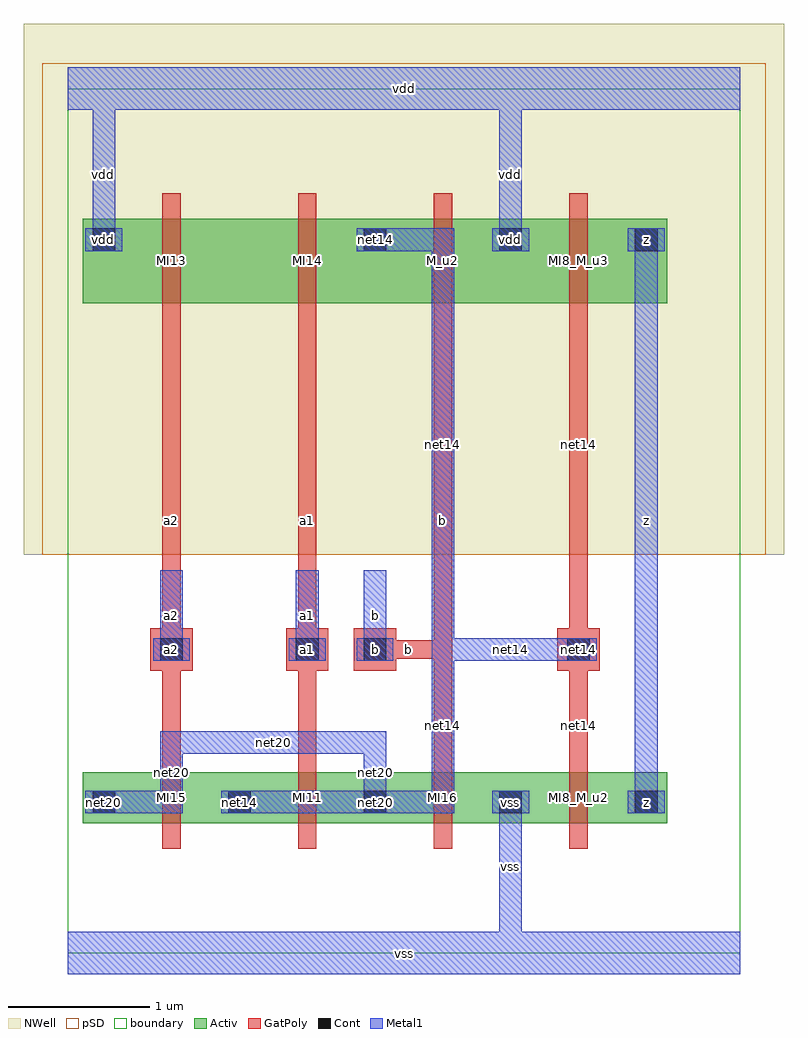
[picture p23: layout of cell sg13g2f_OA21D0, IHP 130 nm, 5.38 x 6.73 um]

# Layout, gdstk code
import gdstk
lib = gdstk.Library(unit=1e-6, precision=1e-09)
def R(c, l, rs):  # rectangles x0, y0, x1, y1
    for r in rs: c.add(gdstk.rectangle(r[:2], r[2:], *l))
def A(c, l, x, y, w, h, nx, ny, dx, dy):  # array of equal rectangles
    R(c, l, [(x+i*dx, y+j*dy, x+i*dx+w, y+j*dy+h) for i in range(nx) for j in range(ny)])
Activ = (1, 0)
GatPoly = (5, 0)
Cont = (6, 0)
Metal1 = (8, 0)
pSD = (14, 0)
NWell = (31, 0)
TEXT = (63, 0)
boundary = (189, 4)

sg13g2f_oa21d0 = lib.new_cell('sg13g2f_OA21D0')
A(sg13g2f_oa21d0, Activ, 0.105, 0.92, 1.26, 0.36, 4, 1, 0.96, 0)
A(sg13g2f_oa21d0, Activ, 0.105, 0.92, 0.3, 0.3, 5, 1, 0.96, 0)
A(sg13g2f_oa21d0, Activ, 0.105, 4.6, 1.26, 0.6, 4, 1, 0.96, 0)
A(sg13g2f_oa21d0, Activ, 2.025, 4.9, 0.3, 0.3, 3, 1, 0.96, 0)
R(sg13g2f_oa21d0, Activ, [(0.105,4.9,0.405,5.2)])
A(sg13g2f_oa21d0, GatPoly, 0.67, 0.74, 0.13, 0.72, 4, 1, 0.96, 0)
A(sg13g2f_oa21d0, GatPoly, 0.67, 1.005, 0.13, 4.11, 3, 1, 0.96, 0)
A(sg13g2f_oa21d0, GatPoly, 0.67, 4.42, 0.13, 0.96, 4, 1, 0.96, 0)
R(sg13g2f_oa21d0, GatPoly, [(3.55,1.005,3.68,2.215), (0.585,2,0.885,2.3), (1.545,2,1.845,2.3), (2.025,2,2.325,2.3), (3.465,2,3.765,2.3), (2.11,2.085,2.72,2.215), (3.55,2.085,3.68,5.115)])
A(sg13g2f_oa21d0, Cont, 0.175, 0.99, 0.16, 0.16, 5, 1, 0.96, 0)
A(sg13g2f_oa21d0, Cont, 2.095, 4.97, 0.16, 0.16, 3, 1, 0.96, 0)
R(sg13g2f_oa21d0, Cont, [(0.655,2.07,0.815,2.23), (1.615,2.07,1.775,2.23), (2.095,2.07,2.255,2.23), (3.535,2.07,3.695,2.23), (0.175,4.97,0.335,5.13)])
A(sg13g2f_oa21d0, Metal1, 0.125, 0.99, 0.26, 0.16, 5, 1, 0.96, 0)
A(sg13g2f_oa21d0, Metal1, 2.045, 4.97, 0.26, 0.16, 3, 1, 0.96, 0)
R(sg13g2f_oa21d0, Metal1, [(0,-0.15,4.76,0.15), (3.055,0.07,3.215,1.15), (0.175,0.99,0.815,1.15), (0.655,0.99,0.815,1.57), (1.135,0.99,2.735,1.15), (2.095,0.99,2.255,1.57), (2.575,0.99,2.735,2.23), (4.015,0.99,4.175,5.13), (0.655,1.41,2.255,1.57), (0.605,2.07,0.865,2.23), (0.655,2.07,0.815,2.71), (1.565,2.07,1.825,2.23), (1.615,2.07,1.775,2.71), (2.045,2.07,2.305,2.23), (2.095,2.07,2.255,2.71), (2.575,2.07,3.695,2.23), (2.575,2.07,2.735,5.13), (3.485,2.07,3.745,2.23), (0.125,4.97,0.385,5.13), (0.175,4.97,0.335,6.05), (2.095,4.97,2.735,5.13), (3.055,4.97,3.215,6.05), (0,5.97,4.76,6.27)])
R(sg13g2f_oa21d0, pSD, [(-0.18,2.82,4.94,5.94), (-0.18,5.94,4.94,6.3)])
R(sg13g2f_oa21d0, NWell, [(-0.31,2.82,5.07,6.58)])
R(sg13g2f_oa21d0, boundary, [(0,0,4.76,6.12)])
sg13g2f_oa21d0.add(gdstk.FlexPath([(0.105,0.41),(4.245,0.41)], 0, ends="flush", simple_path=True, layer=63, datatype=0))  # TEXT
sg13g2f_oa21d0.add(gdstk.FlexPath([(0.105,1.07),(4.245,1.07)], 0, ends="flush", simple_path=True, layer=63, datatype=0))  # TEXT
sg13g2f_oa21d0.add(gdstk.FlexPath([(0.105,1.49),(4.245,1.49)], 0, ends="flush", simple_path=True, layer=63, datatype=0))  # TEXT
sg13g2f_oa21d0.add(gdstk.FlexPath([(0.105,2.15),(4.245,2.15)], 0, ends="flush", simple_path=True, layer=63, datatype=0))  # TEXT
sg13g2f_oa21d0.add(gdstk.FlexPath([(0.105,2.63),(4.245,2.63)], 0, ends="flush", simple_path=True, layer=63, datatype=0))  # TEXT
sg13g2f_oa21d0.add(gdstk.FlexPath([(0.105,3.11),(4.245,3.11)], 0, ends="flush", simple_path=True, layer=63, datatype=0))  # TEXT
sg13g2f_oa21d0.add(gdstk.FlexPath([(0.105,4.15),(4.245,4.15)], 0, ends="flush", simple_path=True, layer=63, datatype=0))  # TEXT
sg13g2f_oa21d0.add(gdstk.FlexPath([(0.105,4.71),(4.245,4.71)], 0, ends="flush", simple_path=True, layer=63, datatype=0))  # TEXT
sg13g2f_oa21d0.add(gdstk.FlexPath([(0.105,5.05),(4.245,5.05)], 0, ends="flush", simple_path=True, layer=63, datatype=0))  # TEXT
sg13g2f_oa21d0.add(gdstk.FlexPath([(0.105,5.71),(4.245,5.71)], 0, ends="flush", simple_path=True, layer=63, datatype=0))  # TEXT
sg13g2f_oa21d0.add(gdstk.FlexPath([(0.255,0.07),(0.255,6.05)], 0, ends="flush", simple_path=True, layer=63, datatype=0))  # TEXT
sg13g2f_oa21d0.add(gdstk.FlexPath([(0.735,0.07),(0.735,6.05)], 0, ends="flush", simple_path=True, layer=63, datatype=0))  # TEXT
sg13g2f_oa21d0.add(gdstk.FlexPath([(1.215,0.07),(1.215,6.05)], 0, ends="flush", simple_path=True, layer=63, datatype=0))  # TEXT
sg13g2f_oa21d0.add(gdstk.FlexPath([(1.695,0.07),(1.695,6.05)], 0, ends="flush", simple_path=True, layer=63, datatype=0))  # TEXT
sg13g2f_oa21d0.add(gdstk.FlexPath([(2.175,0.07),(2.175,6.05)], 0, ends="flush", simple_path=True, layer=63, datatype=0))  # TEXT
sg13g2f_oa21d0.add(gdstk.FlexPath([(2.655,0.07),(2.655,6.05)], 0, ends="flush", simple_path=True, layer=63, datatype=0))  # TEXT
sg13g2f_oa21d0.add(gdstk.FlexPath([(3.135,0.07),(3.135,6.05)], 0, ends="flush", simple_path=True, layer=63, datatype=0))  # TEXT
sg13g2f_oa21d0.add(gdstk.FlexPath([(3.615,0.07),(3.615,6.05)], 0, ends="flush", simple_path=True, layer=63, datatype=0))  # TEXT
sg13g2f_oa21d0.add(gdstk.FlexPath([(4.095,0.07),(4.095,6.05)], 0, ends="flush", simple_path=True, layer=63, datatype=0))  # TEXT
sg13g2f_oa21d0.add(gdstk.Label('net14', (1.215,1.07), layer=6, texttype=0))
sg13g2f_oa21d0.add(gdstk.Label('net14', (2.175,5.05), layer=6, texttype=0))
sg13g2f_oa21d0.add(gdstk.Label('net14', (3.615,2.15), layer=6, texttype=0))
sg13g2f_oa21d0.add(gdstk.Label('a2', (0.735,2.15), layer=6, texttype=0))
sg13g2f_oa21d0.add(gdstk.Label('net20', (0.255,1.07), layer=6, texttype=0))
sg13g2f_oa21d0.add(gdstk.Label('net20', (2.175,1.07), layer=6, texttype=0))
sg13g2f_oa21d0.add(gdstk.Label('a1', (1.695,2.15), layer=6, texttype=0))
sg13g2f_oa21d0.add(gdstk.Label('b', (2.175,2.15), layer=6, texttype=0))
sg13g2f_oa21d0.add(gdstk.Label('z', (4.095,1.07), layer=6, texttype=0))
sg13g2f_oa21d0.add(gdstk.Label('z', (4.095,5.05), layer=6, texttype=0))
sg13g2f_oa21d0.add(gdstk.Label('vss', (3.135,1.07), layer=6, texttype=0))
sg13g2f_oa21d0.add(gdstk.Label('vdd', (3.135,5.05), layer=6, texttype=0))
sg13g2f_oa21d0.add(gdstk.Label('vdd', (0.255,5.05), layer=6, texttype=0))
sg13g2f_oa21d0.add(gdstk.Label('net14', (1.215,1.07), layer=8, texttype=0))
sg13g2f_oa21d0.add(gdstk.Label('net14', (2.175,5.05), layer=8, texttype=0))
sg13g2f_oa21d0.add(gdstk.Label('net14', (1.935,1.07), layer=8, texttype=0))
sg13g2f_oa21d0.add(gdstk.Label('net14', (2.655,1.61), layer=8, texttype=0))
sg13g2f_oa21d0.add(gdstk.Label('net14', (3.135,2.15), layer=8, texttype=0))
sg13g2f_oa21d0.add(gdstk.Label('net14', (3.615,2.15), layer=8, texttype=0))
sg13g2f_oa21d0.add(gdstk.Label('net14', (2.655,3.6), layer=8, texttype=0))
sg13g2f_oa21d0.add(gdstk.Label('net14', (2.415,5.05), layer=8, texttype=0))
sg13g2f_oa21d0.add(gdstk.Label('net20', (0.255,1.07), layer=8, texttype=0))
sg13g2f_oa21d0.add(gdstk.Label('net20', (2.175,1.07), layer=8, texttype=0))
sg13g2f_oa21d0.add(gdstk.Label('net20', (0.495,1.07), layer=8, texttype=0))
sg13g2f_oa21d0.add(gdstk.Label('net20', (0.735,1.28), layer=8, texttype=0))
sg13g2f_oa21d0.add(gdstk.Label('net20', (1.455,1.49), layer=8, texttype=0))
sg13g2f_oa21d0.add(gdstk.Label('net20', (2.175,1.28), layer=8, texttype=0))
sg13g2f_oa21d0.add(gdstk.Label('vss', (3.135,1.07), layer=8, texttype=0))
sg13g2f_oa21d0.add(gdstk.Label('vss', (3.135,0.61), layer=8, texttype=0))
sg13g2f_oa21d0.add(gdstk.Label('vdd', (3.135,5.05), layer=8, texttype=0))
sg13g2f_oa21d0.add(gdstk.Label('vdd', (3.135,5.51), layer=8, texttype=0))
sg13g2f_oa21d0.add(gdstk.Label('vdd', (0.255,5.05), layer=8, texttype=0))
sg13g2f_oa21d0.add(gdstk.Label('vdd', (0.255,5.51), layer=8, texttype=0))
sg13g2f_oa21d0.add(gdstk.Label('a2', (0.735,2.15), layer=8, texttype=2))
sg13g2f_oa21d0.add(gdstk.Label('a2', (0.735,2.39), layer=8, texttype=2))
sg13g2f_oa21d0.add(gdstk.Label('a1', (1.695,2.15), layer=8, texttype=2))
sg13g2f_oa21d0.add(gdstk.Label('a1', (1.695,2.39), layer=8, texttype=2))
sg13g2f_oa21d0.add(gdstk.Label('b', (2.175,2.15), layer=8, texttype=2))
sg13g2f_oa21d0.add(gdstk.Label('b', (2.175,2.39), layer=8, texttype=2))
sg13g2f_oa21d0.add(gdstk.Label('z', (4.095,1.07), layer=8, texttype=2))
sg13g2f_oa21d0.add(gdstk.Label('z', (4.095,5.05), layer=8, texttype=2))
sg13g2f_oa21d0.add(gdstk.Label('z', (4.095,3.06), layer=8, texttype=2))
sg13g2f_oa21d0.add(gdstk.Label('vss', (2.38,0), layer=8, texttype=2))
sg13g2f_oa21d0.add(gdstk.Label('vdd', (2.38,6.12), layer=8, texttype=2))
sg13g2f_oa21d0.add(gdstk.Label('a2', (0.735,2.15), layer=8, texttype=2))
sg13g2f_oa21d0.add(gdstk.Label('a2', (0.735,2.39), layer=8, texttype=2))
sg13g2f_oa21d0.add(gdstk.Label('a1', (1.695,2.15), layer=8, texttype=2))
sg13g2f_oa21d0.add(gdstk.Label('a1', (1.695,2.39), layer=8, texttype=2))
sg13g2f_oa21d0.add(gdstk.Label('b', (2.175,2.15), layer=8, texttype=2))
sg13g2f_oa21d0.add(gdstk.Label('b', (2.175,2.39), layer=8, texttype=2))
sg13g2f_oa21d0.add(gdstk.Label('z', (4.095,1.07), layer=8, texttype=2))
sg13g2f_oa21d0.add(gdstk.Label('z', (4.095,5.05), layer=8, texttype=2))
sg13g2f_oa21d0.add(gdstk.Label('z', (4.095,3.06), layer=8, texttype=2))
sg13g2f_oa21d0.add(gdstk.Label('vss', (2.38,0), layer=8, texttype=2))
sg13g2f_oa21d0.add(gdstk.Label('vdd', (2.38,6.12), layer=8, texttype=2))
sg13g2f_oa21d0.add(gdstk.Label('MI15', (0.735,1.1), layer=1, texttype=0))
sg13g2f_oa21d0.add(gdstk.Label('MI11', (1.695,1.1), layer=1, texttype=0))
sg13g2f_oa21d0.add(gdstk.Label('MI16', (2.655,1.1), layer=1, texttype=0))
sg13g2f_oa21d0.add(gdstk.Label('MI8_M_u2', (3.615,1.1), layer=1, texttype=0))
sg13g2f_oa21d0.add(gdstk.Label('MI14', (1.695,4.9), layer=1, texttype=0))
sg13g2f_oa21d0.add(gdstk.Label('MI8_M_u3', (3.615,4.9), layer=1, texttype=0))
sg13g2f_oa21d0.add(gdstk.Label('M_u2', (2.655,4.9), layer=1, texttype=0))
sg13g2f_oa21d0.add(gdstk.Label('MI13', (0.735,4.9), layer=1, texttype=0))
sg13g2f_oa21d0.add(gdstk.Label('net14', (1.215,1.07), layer=1, texttype=0))
sg13g2f_oa21d0.add(gdstk.Label('net14', (2.175,5.05), layer=1, texttype=0))
sg13g2f_oa21d0.add(gdstk.Label('net20', (0.255,1.07), layer=1, texttype=0))
sg13g2f_oa21d0.add(gdstk.Label('net20', (2.175,1.07), layer=1, texttype=0))
sg13g2f_oa21d0.add(gdstk.Label('z', (4.095,1.07), layer=1, texttype=0))
sg13g2f_oa21d0.add(gdstk.Label('z', (4.095,5.05), layer=1, texttype=0))
sg13g2f_oa21d0.add(gdstk.Label('vss', (3.135,1.07), layer=1, texttype=0))
sg13g2f_oa21d0.add(gdstk.Label('vdd', (3.135,5.05), layer=1, texttype=0))
sg13g2f_oa21d0.add(gdstk.Label('vdd', (0.255,5.05), layer=1, texttype=0))
sg13g2f_oa21d0.add(gdstk.Label('a2', (0.735,2.15), layer=8, texttype=25))
sg13g2f_oa21d0.add(gdstk.Label('a2', (0.735,2.39), layer=8, texttype=25))
sg13g2f_oa21d0.add(gdstk.Label('a1', (1.695,2.15), layer=8, texttype=25))
sg13g2f_oa21d0.add(gdstk.Label('a1', (1.695,2.39), layer=8, texttype=25))
sg13g2f_oa21d0.add(gdstk.Label('b', (2.175,2.15), layer=8, texttype=25))
sg13g2f_oa21d0.add(gdstk.Label('b', (2.175,2.39), layer=8, texttype=25))
sg13g2f_oa21d0.add(gdstk.Label('z', (4.095,1.07), layer=8, texttype=25))
sg13g2f_oa21d0.add(gdstk.Label('z', (4.095,5.05), layer=8, texttype=25))
sg13g2f_oa21d0.add(gdstk.Label('z', (4.095,3.06), layer=8, texttype=25))
sg13g2f_oa21d0.add(gdstk.Label('vss', (2.38,0), layer=8, texttype=25))
sg13g2f_oa21d0.add(gdstk.Label('vdd', (2.38,6.12), layer=8, texttype=25))
sg13g2f_oa21d0.add(gdstk.Label('net14', (3.615,2.15), layer=5, texttype=0))
sg13g2f_oa21d0.add(gdstk.Label('net14', (3.615,1.61), layer=5, texttype=0))
sg13g2f_oa21d0.add(gdstk.Label('net14', (3.615,3.6), layer=5, texttype=0))
sg13g2f_oa21d0.add(gdstk.Label('a2', (0.735,3.06), layer=5, texttype=0))
sg13g2f_oa21d0.add(gdstk.Label('a2', (0.735,2.15), layer=5, texttype=0))
sg13g2f_oa21d0.add(gdstk.Label('a1', (1.695,3.06), layer=5, texttype=0))
sg13g2f_oa21d0.add(gdstk.Label('a1', (1.695,2.15), layer=5, texttype=0))
sg13g2f_oa21d0.add(gdstk.Label('b', (2.655,3.06), layer=5, texttype=0))
sg13g2f_oa21d0.add(gdstk.Label('b', (2.415,2.15), layer=5, texttype=0))
sg13g2f_oa21d0.add(gdstk.Label('b', (2.175,2.15), layer=5, texttype=0))

lib.write_gds('sg13g2f_OA21D0.gds')
